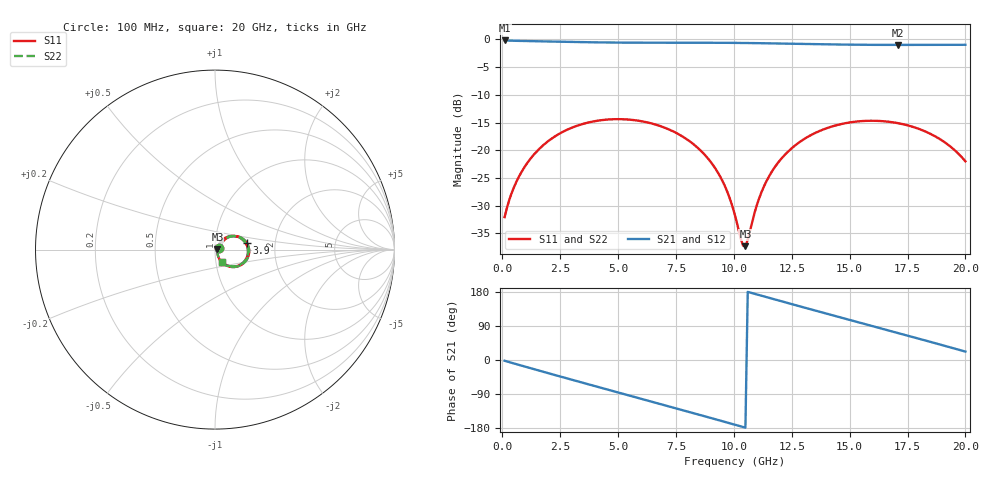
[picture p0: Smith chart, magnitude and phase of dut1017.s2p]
! Touchstone file exported from HFSS 2026.1.0
!  File:  C:/ffzhzh/LocalFiles/Ansys_Project_Files/temp_train_TSV_RDL_1017_1783292139_5512.aedt
!  Generated:  07:05:33 AM Jul  6, 2026
!  Design:  TSV_RDL
!  Project:  temp_train_TSV_RDL_1017_1783292139_5512
! Variables:
!  h_bsmrdl = 2.8um
!  h_ox = 20um
!  h_rdl = 5um
!  h_sub = 58.99um
!  h_tmrdl = 5.74um
!  h_tsv = 58.99um
!  h_via = 3um
!  l_bsmrdl = 776.44um
!  l_sub = 5840.42um
!  l_tmrdl = 744.97um
!  m_sub = 200um
!  pitch = 31.5um
!  r_tsv = 12.55um
!  s_tmrdl = 10um
!  w_bsmrdl = 21.26um
!  w_sub = 500um
!  w_tmrdl = 22.48um
!  x_tsv_center1 = 756.21um
!  x_tsv_center2 = 1553.91um
!  x_tsv_center3 = 2321.36um
!  x_tsv_center4 = 3119.06um
!  x_tsv_center5 = 3886.51um
!  x_tsv_center6 = 4684.21um
# GHz S MA R 50.000000
! Terminal data exported
! Port[1] = TM_RDL1_1_T1
! Port[2] = TM_RDL5_1_T1
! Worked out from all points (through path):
!   200 points, 100 MHz to 20 GHz, reference 50 ohm
!   highest |S21| = -0.20 dB at 100 MHz (marker M1); lowest = -1.0 dB at 17.1 GHz (marker M2)
!   group delay of S21, straight-line fit = 46.8 ps
!   lowest |S11| = -37.3 dB at 10.5 GHz (marker M3), VSWR 1.03, Z = 51.4 + j0.093 ohm
!   |S11| at or under -10 dB: start of sweep to end of sweep
!   |S22| runs from -37.0 to -14.4 dB; largest |S21 - S12| = 1.4e-13
!   S11 on the Smith chart (normalised r, x): 100 MHz: 1.05, +0.02; 3.9 GHz: 1.43, +0.11; 20 GHz: 1.07, -0.15
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0.1  0.02497 19.8  0.9768 -1.9  0.9768 -1.9  0.02497 19.8
! Gamma 0 0 0 0
! Port Impedance 50 0 50 0
0.6  0.05153 44.0  0.9693 -10.8  0.9693 -10.8  0.05153 44.0
1.3  0.08815 44.7  0.9626 -23.0  0.9626 -23.0  0.08814 44.7
2.3  0.1345 34.2  0.9532 -40.2  0.9532 -40.2  0.1345 34.2
3.5  0.1732 17.4  0.9427 -60.4  0.9427 -60.4  0.1732 17.4
3.9  0.1813 11.5  0.9398 -67.1  0.9398 -67.1  0.1813 11.5
5.4  0.1895 -11.0  0.9333 -92.2  0.9333 -92.2  0.1894 -11.0
6.8  0.1658 -32.2  0.9321 -115.6  0.9321 -115.6  0.1658 -32.1
8.9  0.0835 -61.1  0.932 -151.2  0.932 -151.2  0.08346 -60.8
9.6  0.04825 -65.5  0.9305 -163.1  0.9305 -163.1  0.04827 -65.0
10.1  0.02361 -55.0  0.9287 -171.7  0.9287 -171.7  0.02376 -54.1
10.4  0.0138 -17.5  0.9273 -176.8  0.9273 -176.8  0.01418 -16.7
10.5  0.01367 3.8  0.9268 -178.5  0.9268 -178.5  0.01409 3.9
11.1  0.03725 52.8  0.9233 171.2  0.9233 171.2  0.03749 52.3
11.6  0.06219 53.5  0.9198 162.7  0.9198 162.7  0.06237 53.1
12.4  0.09996 45.4  0.9135 149.2  0.9135 149.2  0.1001 45.2
13.4  0.1395 31.9  0.9055 132.4  0.9055 132.4  0.1396 31.7
15.1  0.1794 6.9  0.8948 104.2  0.8948 104.2  0.1794 6.8
16.7  0.1806 -16.8  0.8907 77.7  0.8907 77.7  0.1806 -16.8
17.1  0.1753 -22.6  0.8906 71.1  0.8906 71.1  0.1753 -22.6
18.7  0.1334 -45.2  0.8919 44.3  0.8919 44.3  0.1334 -45.1
20  0.07955 -59.2  0.8927 22.2  0.8927 22.2  0.07959 -58.9
